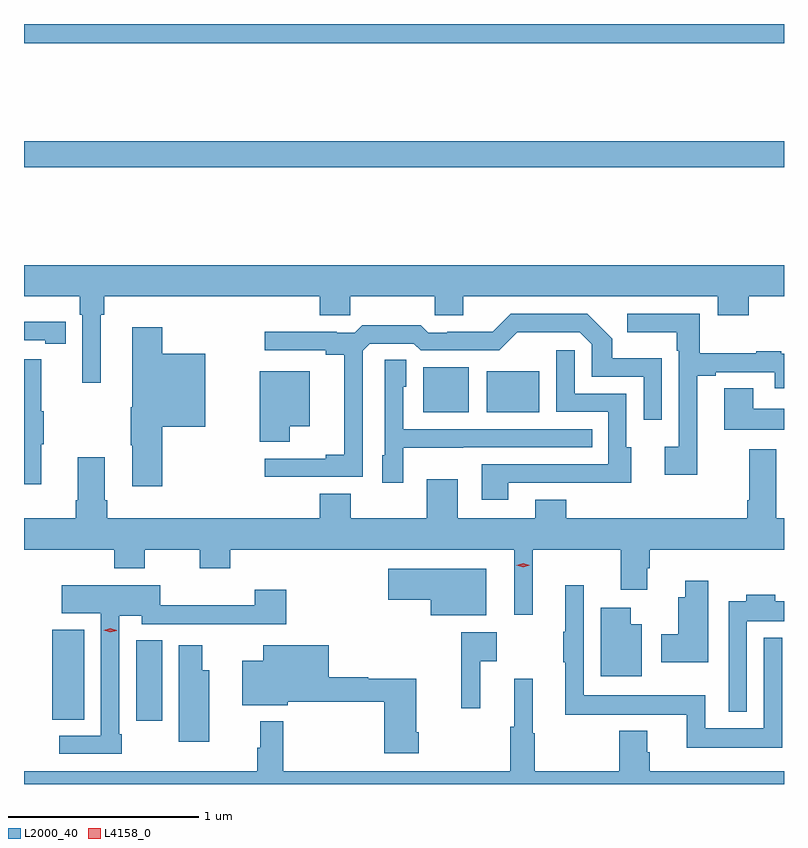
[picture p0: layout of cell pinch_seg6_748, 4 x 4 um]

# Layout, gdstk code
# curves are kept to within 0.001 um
import gdstk
lib = gdstk.Library(unit=1e-6, precision=1e-09)
def R(c, l, rs):  # rectangles x0, y0, x1, y1
    for r in rs: c.add(gdstk.rectangle(r[:2], r[2:], *l))
def P(c, l, *ps):  # polygons
    for p in ps: c.add(gdstk.Polygon(p, *l))
L2000_40 = (2000, 40)
L4158_0 = (4158, 0)

pinch_seg6_748 = lib.new_cell('pinch_seg6_748')
R(pinch_seg6_748, L2000_40, [(303.887,991.722,304.024,992.147), (303.446,991.729,303.613,992.203), (305.399,993.347,305.638,993.583), (305.732,993.347,306.01,993.562), (303.297,994.636,307.297,994.772), (303.297,995.288,307.297,995.39)])
P(pinch_seg6_748, L2000_40, [(303.7,993.86),(303.719,993.86),(303.719,993.956),(304.853,993.956),(304.853,993.858),(305.013,993.858),(305.013,993.956),(305.458,993.956),(305.458,993.858),(305.608,993.858),(305.608,993.956),(306.947,993.956),(306.947,993.857),(307.111,993.857),(307.111,993.956),(307.297,993.956),(307.297,994.12),(303.297,994.12),(303.297,993.956),(303.59,993.956),(303.59,993.86),(303.603,993.86),(303.603,993.501),(303.7,993.501)],
  [(306.841,993.54),(306.937,993.54),(306.937,993.558),(307.247,993.558),(307.247,993.474),(307.297,993.474),(307.297,993.654),(307.283,993.654),(307.283,993.667),(307.151,993.667),(307.151,993.656),(306.853,993.656),(306.853,993.864),(306.471,993.864),(306.471,993.767),(306.732,993.767),(306.732,993.671),(306.744,993.671),(306.744,993.166),(306.669,993.166),(306.669,993.018),(306.841,993.018)],
  [(305.079,993.669),(305.118,993.708),(305.349,993.708),(305.385,993.672),(305.799,993.672),(305.894,993.767),(306.222,993.768),(306.285,993.705),(306.285,993.534),(306.558,993.534),(306.558,993.306),(306.654,993.306),(306.654,993.631),(306.393,993.631),(306.393,993.734),(306.262,993.864),(305.859,993.864),(305.765,993.77),(305.524,993.77),(305.524,993.765),(305.424,993.765),(305.385,993.805),(305.077,993.805),(305.037,993.765),(304.943,993.765),(304.943,993.77),(304.563,993.77),(304.563,993.672),(304.886,993.672),(304.886,993.65),(304.982,993.65),(304.982,993.122),(304.886,993.122),(304.886,993.102),(304.563,993.102),(304.563,993.006),(305.079,993.006)],
  [(303.518,993.822),(303.41,993.822),(303.41,993.823),(303.297,993.823),(303.297,993.726),(303.41,993.726),(303.41,993.706),(303.518,993.706)],
  [(304.025,993.269),(304.252,993.269),(304.252,993.655),(304.025,993.655),(304.025,993.793),(303.866,993.793),(303.866,993.373),(303.859,993.373),(303.859,993.173),(303.866,993.173),(303.866,992.958),(304.025,992.958)],
  [(305.845,992.976),(306.275,992.976),(306.275,992.975),(306.493,992.975),(306.493,993.162),(306.468,993.162),(306.468,993.444),(306.195,993.444),(306.195,993.673),(306.099,993.673),(306.099,993.348),(306.372,993.348),(306.372,993.072),(305.705,993.072),(305.705,992.886),(305.845,992.886)],
  [(303.389,993.179),(303.4,993.179),(303.4,993.353),(303.389,993.353),(303.389,993.625),(303.297,993.625),(303.297,992.967),(303.389,992.967)],
  [(305.292,993.161),(305.609,993.161),(305.609,993.162),(306.287,993.162),(306.287,993.258),(305.292,993.258),(305.292,993.48),(305.308,993.48),(305.308,993.623),(305.196,993.623),(305.196,993.12),(305.183,993.12),(305.183,992.976),(305.292,992.976)],
  [(304.696,993.272),(304.801,993.272),(304.801,993.562),(304.538,993.562),(304.538,993.192),(304.696,993.192)],
  [(307.297,993.364),(307.135,993.364),(307.135,993.473),(306.983,993.473),(306.983,993.254),(307.297,993.254)],
  [(305.974,992.624),(306.437,992.624),(306.437,992.412),(306.577,992.412),(306.577,992.526),(306.59,992.526),(306.59,992.624),(307.297,992.624),(307.297,992.788),(307.255,992.788),(307.255,993.151),(307.115,993.151),(307.115,992.884),(307.103,992.884),(307.103,992.788),(306.151,992.788),(306.151,992.887),(305.987,992.887),(305.987,992.788),(305.581,992.788),(305.581,992.995),(305.417,992.995),(305.417,992.788),(305.017,992.788),(305.017,992.917),(304.853,992.917),(304.853,992.788),(303.734,992.788),(303.734,992.884),(303.721,992.884),(303.721,993.109),(303.581,993.109),(303.581,992.884),(303.569,992.884),(303.569,992.788),(303.297,992.788),(303.297,992.624),(303.773,992.624),(303.773,992.525),(303.933,992.525),(303.933,992.624),(304.222,992.624),(304.222,992.525),(304.382,992.525),(304.382,992.624),(305.876,992.624),(305.876,992.28),(305.974,992.28)],
  [(305.731,992.524),(305.214,992.524),(305.214,992.359),(305.438,992.359),(305.438,992.279),(305.731,992.279)],
  [(306.898,992.461),(306.776,992.461),(306.776,992.374),(306.74,992.374),(306.74,992.178),(306.651,992.178),(306.651,992.03),(306.898,992.03)],
  [(303.811,991.651),(303.798,991.651),(303.798,992.276),(303.918,992.276),(303.918,992.232),(304.676,992.232),(304.676,992.413),(304.511,992.413),(304.511,992.33),(304.014,992.33),(304.014,992.437),(303.495,992.437),(303.495,992.288),(303.702,992.288),(303.702,991.644),(303.483,991.644),(303.483,991.548),(303.811,991.548)],
  [(307.288,992.161),(307.191,992.161),(307.191,991.684),(306.882,991.684),(306.882,991.858),(306.243,991.858),(306.243,992.437),(306.146,992.437),(306.146,992.192),(306.135,992.192),(306.135,992.032),(306.146,992.032),(306.146,991.754),(306.785,991.754),(306.785,991.58),(307.288,991.58)],
  [(307.101,992.246),(307.297,992.246),(307.297,992.353),(307.25,992.353),(307.25,992.386),(307.097,992.386),(307.097,992.353),(307.005,992.353),(307.005,991.769),(307.101,991.769)],
  [(306.547,992.23),(306.49,992.23),(306.49,992.317),(306.332,992.317),(306.332,991.958),(306.547,991.958)],
  [(305.699,992.036),(305.785,992.036),(305.785,992.188),(305.599,992.188),(305.599,991.788),(305.699,991.788)],
  [(305.375,991.663),(305.362,991.663),(305.362,991.945),(305.108,991.945),(305.108,991.952),(304.9,991.952),(304.9,992.119),(304.556,992.119),(304.556,992.038),(304.445,992.038),(304.445,991.805),(304.684,991.805),(304.684,991.824),(305.192,991.824),(305.192,991.551),(305.375,991.551)],
  [(304.273,991.99),(304.234,991.99),(304.234,992.119),(304.112,992.119),(304.112,991.613),(304.273,991.613)],
  [(307.297,991.456),(306.59,991.456),(306.59,991.557),(306.577,991.557),(306.577,991.669),(306.43,991.669),(306.43,991.456),(305.986,991.456),(305.986,991.658),(305.974,991.658),(305.974,991.945),(305.876,991.945),(305.876,991.692),(305.857,991.692),(305.857,991.456),(304.661,991.456),(304.661,991.72),(304.54,991.72),(304.54,991.58),(304.525,991.58),(304.525,991.456),(303.297,991.456),(303.297,991.39),(307.297,991.39)])
P(pinch_seg6_748, L4158_0, [(303.75,992.189),(303.716,992.2),(303.716,992.2),(303.716,992.2),(303.751,992.209),(303.786,992.198),(303.786,992.197),(303.786,992.197)],
  [(305.925,992.532),(305.889,992.541),(305.889,992.541),(305.889,992.541),(305.924,992.552),(305.96,992.542),(305.96,992.542),(305.96,992.542)])

lib.write_gds('pinch_seg6_748.gds')
